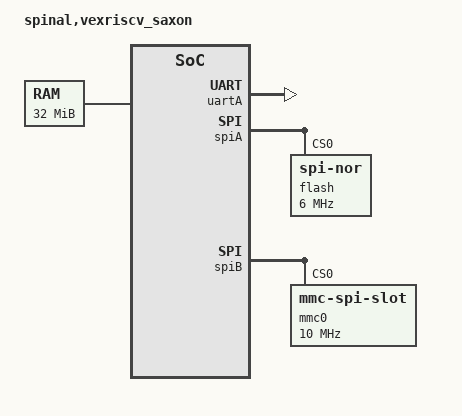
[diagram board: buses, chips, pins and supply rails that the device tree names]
/dts-v1/;

#include <config.h>
/include/ "sapphire.dtsi"

#define CLK_FREQ 250000000
#define PERIPHERAL_FREQ 50000000
/ {
	compatible = "spinal,vexriscv";
	model = "spinal,vexriscv_saxon";

	aliases {
                serial0 = &uartA;
                spi0 = &spiA;
                spi1 = &spiB;
        };

	chosen {
		bootargs = "console=ttyS0,115200n8";
		stdout-path = "serial0:115200n8";
	};

	cpus {
		timebase-frequency = <PERIPHERAL_FREQ>;
              cpu@0 {
                  clock-frequency = <CLK_FREQ>;
              };
	};

	memory {
		device_type = "memory";
		reg = <0x00001000 0x02000000>;
  	};
};

&apbA_clock {
    clock-frequency = <PERIPHERAL_FREQ>;
};

&uartA {
	status = "okay";
	device_type = "serial";
	compatible = "riscv_sbi,uart";
};

&spiA {
	status = "okay";
	compatible = "vexriscv,spi";
	flash: flash@0 {
		#address-cells = <1>;
		#size-cells = <0>;
		compatible = "jedec,spi-nor";
		reg = <0>;
		spi-max-frequency = <6000000>;
        };
};

&spiB {
	status = "okay";
	compatible = "vexriscv,spi";
	mmc0: mmc@0 {
		compatible = "mmc-spi-slot";
		reg = <0>;
		spi-max-frequency = <10000000>;
	};
};
